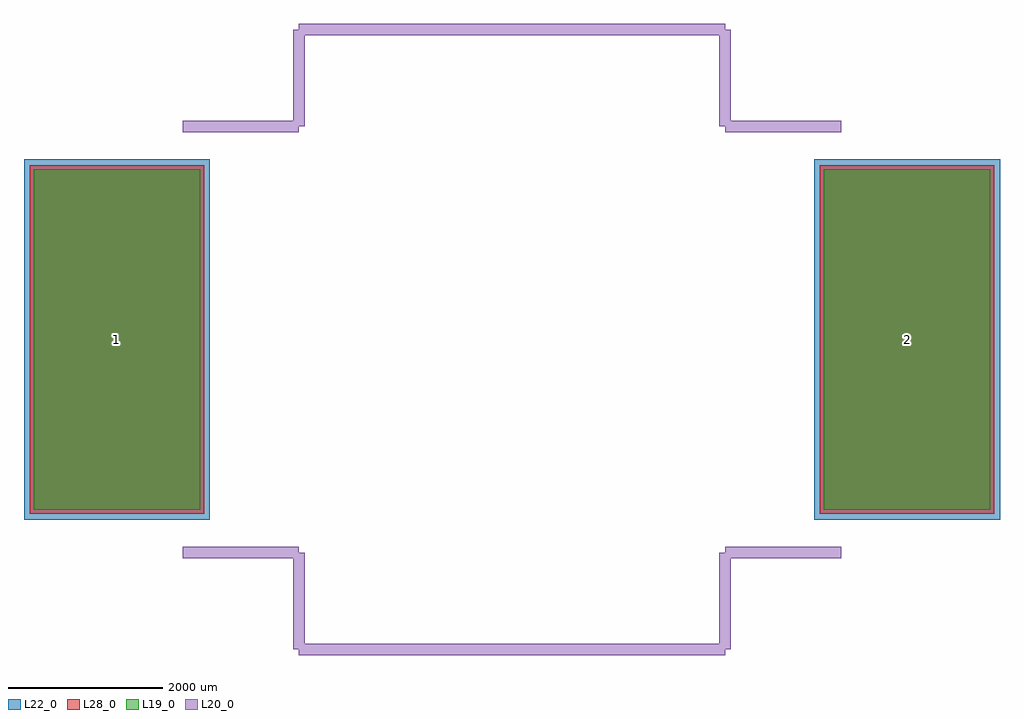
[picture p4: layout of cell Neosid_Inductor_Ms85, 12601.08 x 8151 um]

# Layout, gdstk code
import gdstk
lib = gdstk.Library(unit=1e-6, precision=1e-09)
def R(c, l, rs):  # rectangles x0, y0, x1, y1
    for r in rs: c.add(gdstk.rectangle(r[:2], r[2:], *l))
L19_0 = (19, 0)
L20_0 = (20, 0)
L22_0 = (22, 0)
L28_0 = (28, 0)

neosid_inductor_ms85 = lib.new_cell('Neosid_Inductor_Ms85')
R(neosid_inductor_ms85, L19_0, [(-6175.54,-2200.44,-4025.1,2200.44), (4025.1,-2200.44,6175.54,2200.44)])
R(neosid_inductor_ms85, L22_0, [(-6300.54,-2325.44,-3900.1,2325.44), (3900.1,-2325.44,6300.54,2325.44)])
R(neosid_inductor_ms85, L28_0, [(-6225.54,-2250.44,-3975.1,2250.44), (3975.1,-2250.44,6225.54,2250.44)])
neosid_inductor_ms85.add(gdstk.FlexPath([(-2750.82,2750.82),(-4249.42,2750.82)], 149.998, ends="flush", simple_path=True, layer=20, datatype=0))  # L20_0
neosid_inductor_ms85.add(gdstk.FlexPath([(-2750.82,4000.5),(-2750.82,2750.82)], 149.998, ends="flush", simple_path=True, layer=20, datatype=0))  # L20_0
neosid_inductor_ms85.add(gdstk.FlexPath([(2750.82,4000.5),(-2750.82,4000.5)], 149.998, ends="flush", simple_path=True, layer=20, datatype=0))  # L20_0
neosid_inductor_ms85.add(gdstk.FlexPath([(2750.82,2750.82),(2750.82,4000.5)], 149.998, ends="flush", simple_path=True, layer=20, datatype=0))  # L20_0
neosid_inductor_ms85.add(gdstk.FlexPath([(4249.42,2750.82),(2750.82,2750.82)], 149.998, ends="flush", simple_path=True, layer=20, datatype=0))  # L20_0
neosid_inductor_ms85.add(gdstk.FlexPath([(2750.82,-2750.82),(4249.42,-2750.82)], 149.998, ends="flush", simple_path=True, layer=20, datatype=0))  # L20_0
neosid_inductor_ms85.add(gdstk.FlexPath([(2750.82,-4000.5),(2750.82,-2750.82)], 149.998, ends="flush", simple_path=True, layer=20, datatype=0))  # L20_0
neosid_inductor_ms85.add(gdstk.FlexPath([(-2750.82,-4000.5),(2750.82,-4000.5)], 149.998, ends="flush", simple_path=True, layer=20, datatype=0))  # L20_0
neosid_inductor_ms85.add(gdstk.FlexPath([(-2750.82,-2750.82),(-2750.82,-4000.5)], 149.998, ends="flush", simple_path=True, layer=20, datatype=0))  # L20_0
neosid_inductor_ms85.add(gdstk.FlexPath([(-4249.42,-2750.82),(-2750.82,-2750.82)], 149.998, ends="flush", simple_path=True, layer=20, datatype=0))  # L20_0
neosid_inductor_ms85.add(gdstk.Label('2', (5100.32,0), layer=28, texttype=0))
neosid_inductor_ms85.add(gdstk.Label('1', (-5100.32,0), layer=28, texttype=0))
neosid_inductor_ms85.add(gdstk.Label('type', (0,-6250.94), layer=9, texttype=0))
neosid_inductor_ms85.add(gdstk.Label('devicename', (0,5750.56), layer=9, texttype=0))

lib.write_gds('Neosid_Inductor_Ms85.gds')
